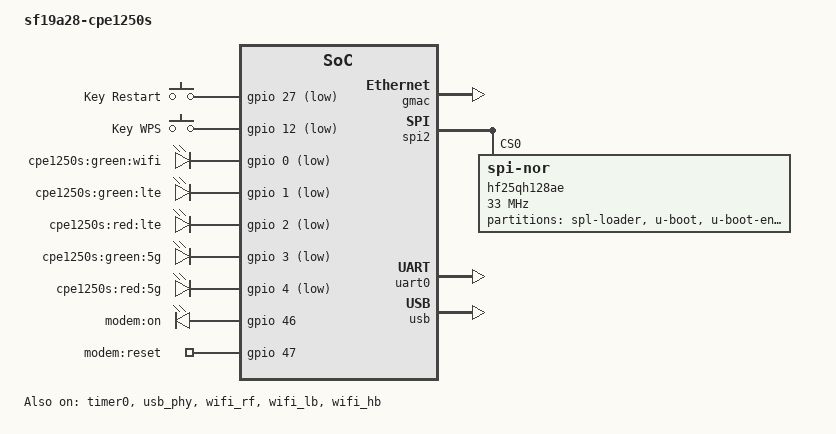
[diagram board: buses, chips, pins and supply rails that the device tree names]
/dts-v1/;

#include "sf19a28_fullmask.dtsi"
#include "sf19a28-thermal_common.dtsi"

/ {
	#address-cells = <1>;
	#size-cells = <1>;
	compatible = "siflower,sf19a28-soc";
	model = "sf19a28-cpe1250s";

	aliases {
		led-boot = &wifi_led;
		led-failsafe = &wifi_led;
		led-running = &wifi_led;
		led-upgrade = &wifi_led;
	};
};

&gmac {
	status = "okay";
	delay = <0x40 0x20>;
	esw-rst-gpio = <0>;
};

&spi2 {
	status = "okay";
	dmas = <&gdma 10
		&gdma 11>;
	dma-names = "tx", "rx";

	#address-cells = <1>;
	#size-cells = <0>;

	hf25qh128ae@0 {
		compatible = "jedec,spi-nor";
		reg = <0>;
		spi-max-frequency = <33000000>;

		bank-width = <2>;
		device-width = <2>;
		#address-cells = <1>;
		#size-cells = <1>;

		partition@0 {
			label = "spl-loader";
			reg = <0x0 0x20000>;
			read-only;
		};

		partition@20000 {
			label = "u-boot";
			reg = <0x20000 0x60000>;
		};

		partition@80000 {
			label = "u-boot-env";
			reg = <0x80000 0x10000>;
		};

		factory:partition@90000 {
			label = "factory";
			reg = <0x90000 0x10000>;
		};

		partition@a0000 {
			label = "product";
			reg = <0xa0000 0x10000>;
		};

		partition@b0000 {
			label = "firmware";
			reg = <0xb0000 0xed0000>;
		};

		partition@f80000 {
			label = "pcba";
			reg = <0xf80000 0x80000>;
		};
	};
};

&uart0 {
	status = "okay";
};

&timer0 {
	status = "okay";
};

&usb_phy {
	status = "okay";
};

&usb {
	status = "okay";
};

&wifi_rf {
	status = "okay";
	/* 5G uses an external PA on this board */
	force_expa = <1>;
	/* both antennas are calibrated in the factory partition */
	dual-antenna-calibrate = <1>;
	hb-rf-coex = <2>;
	hb-base-gain = <10>;
};

&wifi_lb {
	status = "okay";

	#address-cells = <1>;
	#size-cells = <0>;
	smp-affinity = <2>;
};

&wifi_hb {
	status = "okay";

	#address-cells = <1>;
	#size-cells = <0>;
	smp-affinity = <3>;
};

&gpio_keys {
	status = "okay";

	restart@27 {
		label = "Key Restart";
		linux,code = <0x198>; /* KEY_RESTART */
		gpios = <&gpio 27 1>;
		poll-interval = <10>;
		debounce-interval = <20>;
	};

	wps@12 {
		label = "Key WPS";
		linux,code = <0x211>; /* KEY_WPS_BUTTON */
		gpios = <&gpio 12 1>;
		poll-interval = <10>;
		debounce-interval = <20>;
	};
};

&leds {
	status = "okay";

	wifi_led: wifi {
		label = "cpe1250s:green:wifi";
		gpios = <&gpio 0 1>;
		default-state = "on";
	};

	lte_green: lte-green {
		label = "cpe1250s:green:lte";
		gpios = <&gpio 1 1>;
		default-state = "off";
	};

	lte_red: lte-red {
		label = "cpe1250s:red:lte";
		gpios = <&gpio 2 1>;
		default-state = "on";
	};

	nr_green: nr-green {
		label = "cpe1250s:green:5g";
		gpios = <&gpio 3 1>;
		default-state = "off";
	};

	nr_red: nr-red {
		label = "cpe1250s:red:5g";
		gpios = <&gpio 4 1>;
		default-state = "on";
	};

	/*
	 * Modem power-up is done in-kernel at probe time, no userspace script.
	 * GPIO46 = module ON/OFF (high = on), GPIO47 = RESET_N (active low,
	 * high = released from reset). "default-state = on" makes leds-gpio
	 * drive both lines high as soon as the driver probes.
	 */
	modem_on: modem-on {
		label = "modem:on";
		gpios = <&gpio 46 0>;
		default-state = "on";
	};

	modem_reset: modem-reset {
		label = "modem:reset";
		gpios = <&gpio 47 0>;
		default-state = "on";
	};
};
